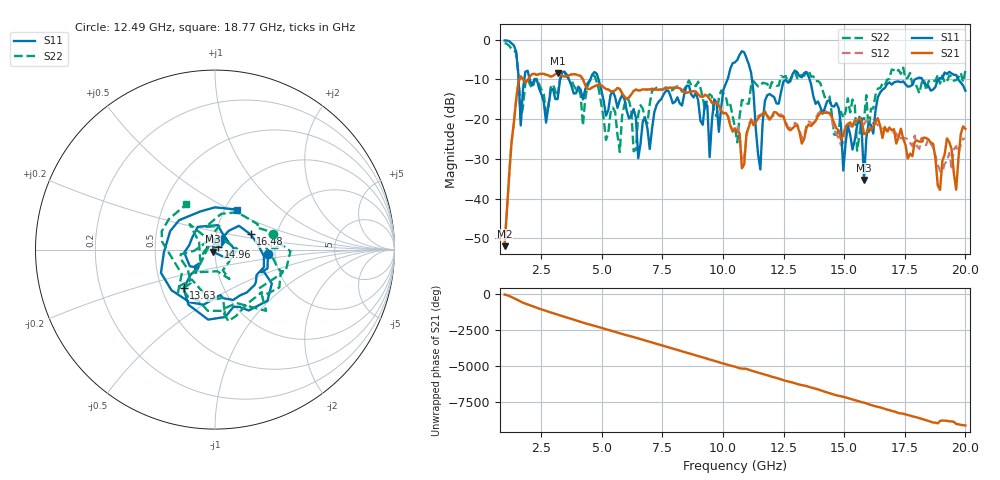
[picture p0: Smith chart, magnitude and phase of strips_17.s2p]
!Agilent Technologies,N5230A,MY45001629,A.07.50.67
!Agilent N5230A: A.07.50.67
!Date: Monday, June 05, 2017 16:33:42
!Correction: S11(Full 2 Port(1,2))
!S21(Full 2 Port(1,2))
!S12(Full 2 Port(1,2))
!S22(Full 2 Port(1,2))
!S2P File: Measurements: S11, S21, S12, S22:
# Hz S  dB  R 50
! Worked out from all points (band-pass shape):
!   201 points, 1 GHz to 20 GHz, reference 50 ohm
!   highest |S21| = -8.50 dB at 3.185 GHz (marker M1); lowest = -52.0 dB at 1 GHz (marker M2)
!   |S21| within 3 dB of the highest: 1.553 GHz to 4.328 GHz (2.775 GHz wide, 94.4 % of centre); 4.813 GHz to 4.966 GHz (152.9 MHz wide, 3.13 % of centre)
!   lowest |S11| = -35.3 dB at 15.82 GHz (marker M3), VSWR 1.03, Z = 48.8 - j1.18 ohm
!   |S11| at or under -10 dB: 4.87 GHz to 10.19 GHz (5.322 GHz wide, 70.7 % of centre); 11.2 GHz to 12.81 GHz (1.609 GHz wide, 13.4 % of centre); 13.57 GHz to 17.93 GHz (4.354 GHz wide, 27.6 % of centre)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
!   |S22| runs from -28.3 to -0.9 dB; largest |S21 - S12| = 0.042
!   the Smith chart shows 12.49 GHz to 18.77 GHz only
!   S11 on the Smith chart (normalised r, x): 12.49 GHz: 1.83, -0.10; 13.63 GHz: 0.65, -0.30; 14.96 GHz: 1.03, +0.03; 16.48 GHz: 1.47, +0.26; 18.77 GHz: 1.14, +0.54
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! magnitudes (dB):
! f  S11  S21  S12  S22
! 1 GHz  -0.2  -52.0  -51.4  -0.9
! 1.57 GHz  -8.9  -10.7  -10.7  -8.6
! 3.185 GHz  -15.0  -8.5  -8.5  -14.3
! 4.23 GHz  -15.0  -10.0  -10.0  -21.6
! 6.51 GHz  -29.8  -12.8  -12.7  -18.8
! 7.365 GHz  -15.5  -12.6  -12.7  -12.6
! 9.455 GHz  -29.6  -14.9  -15.0  -13.7
! 10.5 GHz  -5.7  -22.3  -22.2  -22.2
! 11.16 GHz  -8.4  -20.1  -20.6  -11.5
! 11.54 GHz  -32.7  -19.1  -18.9  -11.7
! 11.73 GHz  -15.4  -18.0  -18.5  -11.0
! 12.49 GHz  -10.6  -19.2  -19.5  -9.5
! 13.63 GHz  -11.2  -21.8  -20.9  -9.3
! 13.73 GHz  -14.3  -21.1  -21.1  -9.3
! 14.96 GHz  -33.0  -24.0  -26.0  -19.7
! 15.63 GHz  -19.4  -19.8  -20.8  -24.0
! 15.82 GHz  -35.3  -23.8  -21.3  -20.1
! 16.48 GHz  -13.3  -21.7  -22.2  -12.2
! 16.86 GHz  -10.8  -22.1  -23.2  -9.9
! 18.77 GHz  -11.9  -29.9  -29.1  -10.5
! 19.62 GHz  -8.9  -37.8  -26.8  -10.2
! 20 GHz  -12.9  -22.5  -25.0  -7.9
